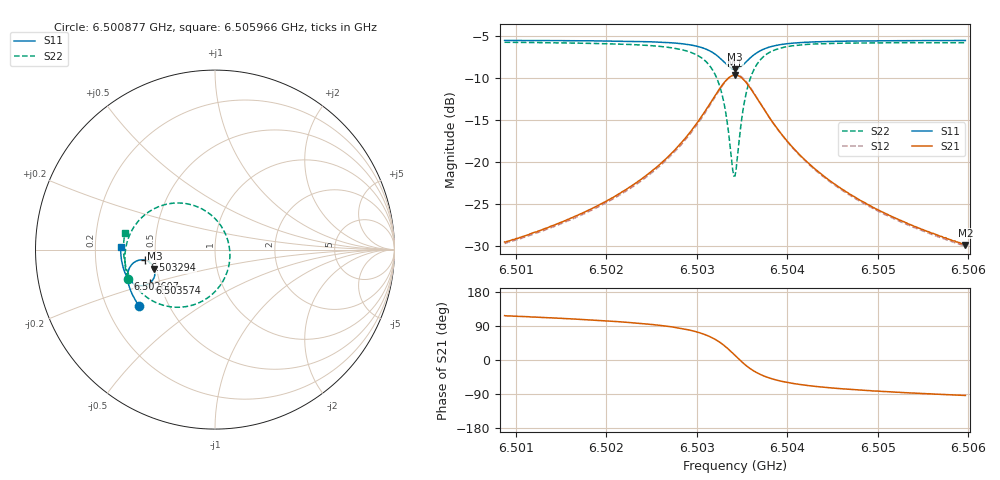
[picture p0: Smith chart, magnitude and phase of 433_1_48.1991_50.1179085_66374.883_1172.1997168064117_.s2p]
#  HZ  S  RI  R  50.00
! Rohde & Schwarz Vector Network Analyzer
! Rohde-Schwarz,ZNB20-2Port,1311601062101988,3.16
! Created: UTC 3/20/2024, 11:55:30 AM
! freq[Hz]  re:S11  im:S11  re:S21  im:S21  re:S12  im:S12  re:S22  im:S22
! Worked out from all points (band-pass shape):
!   401 points, 6.500877 GHz to 6.505966 GHz, reference 50 ohm
!   highest |S21| = -9.69 dB at 6.503422 GHz (marker M1); lowest = -29.9 dB at 6.505966 GHz (marker M2)
!   |S21| within 3 dB of the highest: 6.503169 GHz to 6.503678 GHz (508.3 kHz wide, 0.00782 % of centre)
!   lowest |S11| = -9.0 dB at 6.503422 GHz (marker M3), VSWR 2.10, Z = 24.3 - j5.92 ohm
!   |S11| at or under -10 dB: nowhere
!   |S22| runs from -21.7 to -5.8 dB; largest |S21 - S12| = 0.012
!   S11 on the Smith chart (normalised r, x): 6.500877 GHz: 0.34, -0.29; 6.502607 GHz: 0.33, -0.15; 6.503294 GHz: 0.44, -0.06; 6.503574 GHz: 0.44, -0.20; 6.505966 GHz: 0.31, +0.01
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6.500877e9  -0.4231 -0.313  -0.0151 0.0296  -0.0133 0.0297  -0.4873 -0.1616
6.5017295e9  -0.4602 -0.2507  -0.0144 0.0469  -0.012 0.0467  -0.5018 -0.0721
6.5021875e9  -0.4766 -0.2106  -0.0117 0.0656  -0.00873 0.0645  -0.4999 -0.00829
6.502582e9  -0.4863 -0.1677  -0.00292 0.0953  0.000891 0.0931  -0.4809 0.0689
6.5026074e9  -0.4867 -0.1646  -0.00166 0.098  0.00199 0.0956  -0.4785 0.075
6.5028873e9  -0.4839 -0.1222  0.023 0.139  0.0268 0.1348  -0.427 0.1589
6.5030782e9  -0.465 -0.0845  0.0727 0.1806  0.0754 0.1745  -0.3315 0.2316
6.5032054e9  -0.4306 -0.061  0.1461 0.2014  0.147 0.1951  -0.1989 0.2595
6.5032945e9  -0.3906 -0.0586  0.225 0.1866  0.2252 0.1812  -0.063 0.2214
6.5033326e9  -0.3713 -0.0661  0.2613 0.164  0.262 0.1592  -0.00286 0.176
6.5033963e9  -0.3443 -0.0921  0.3095 0.101  0.3121 0.0962  0.0703 0.055
6.5034217e9  -0.3378 -0.1066  0.3203 0.0691  0.3233 0.0634  0.082 -0.00461
6.5034472e9  -0.3347 -0.1221  0.3241 0.0357  0.3277 0.0288  0.0812 -0.0659
6.5035108e9  -0.3412 -0.1595  0.307 -0.0424  0.3092 -0.0524  0.0276 -0.2017
6.5035744e9  -0.3622 -0.1856  0.2647 -0.0971  0.2637 -0.1083  -0.0682 -0.2857
6.5036762e9  -0.4016 -0.2013  0.1902 -0.1339  0.1848 -0.1435  -0.2181 -0.3212
6.5038416e9  -0.4478 -0.1916  0.1083 -0.1312  0.1013 -0.1363  -0.3655 -0.2752
6.5040197e9  -0.4754 -0.1704  0.0639 -0.1112  0.0576 -0.1136  -0.4377 -0.2108
6.5042742e9  -0.4961 -0.1402  0.0341 -0.0871  0.0291 -0.0877  -0.4811 -0.1387
6.5046813e9  -0.5125 -0.0982  0.0141 -0.0628  0.0108 -0.0626  -0.5045 -0.0599
6.5051266e9  -0.5211 -0.0573  0.00506 -0.0475  0.00279 -0.0469  -0.51 0.00175
6.5059664e9  -0.5259 0.0136  -0.002 -0.0318  -0.0034 -0.0312  -0.5022 0.0898
